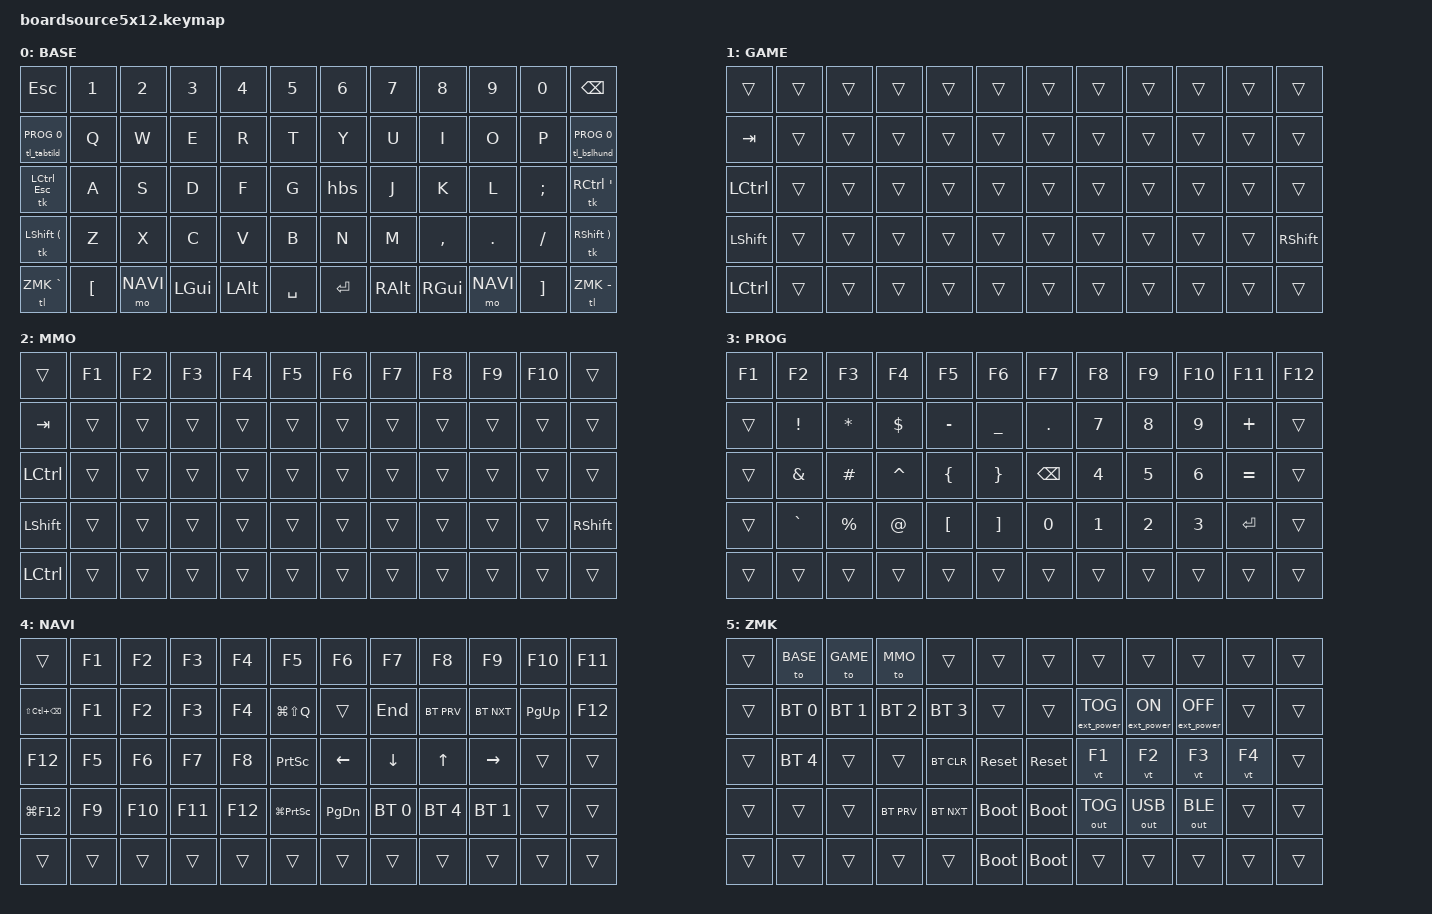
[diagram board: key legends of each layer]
/*
 * Copyright (c) 2021 The ZMK Contributors
 *
 * SPDX-License-Identifier: MIT
 */

#include <behaviors.dtsi>
#include <dt-bindings/zmk/keys.h>
#include <dt-bindings/zmk/bt.h>
#include <dt-bindings/zmk/ext_power.h>
#include <dt-bindings/zmk/outputs.h>
#include "macros.dtsi"

#define BASE 0

#define GAME 1
#define MMO 2

#define PROG 3
#define NAVI 4
#define ZMK  5

#define KILL    LG(LS(Q))
#define PSCR_SC LS(PSCRN)
#define PSCR_RT LG(PSCRN)
// STEAM shortcuts
#define STEAM   LS(LC(TAB))
#define STM_QA  LS(LC(BSPC))
#define S_SCST  F12
#define S_CLIP  LG(F12)

//    ┌────┬────┬────┬────┬────┬────┬────┬────┬────┬────┬────┬────┐
//    │ 0  │ 1  │ 2  │ 3  │ 4  │ 5  │ 6  │ 7  │ 8  │ 9  │ 10 │ 11 │
//    ├────┼────┼────┼────┼────┼────┤────┼────┼────┼────┼────┼────┤
//    │ 12 │ 13 │ 14 │ 15 │ 16 │ 17 │ 18 │ 19 │ 20 │ 21 │ 22 │ 23 │
//    ├────┼────┼────┼────┼────┼────┼────┼────┼────┼────┼────┼────┼
//    │ 24 │ 25 │ 26 │ 27 │ 28 │ 29 │ 30 │ 31 │ 32 │ 33 │ 34 │ 35 │
//    ├────┼────┼────┼────┼────┼────┼────┼────┼────┼────┼────┼────┼
//    │ 36 │ 37 │ 38 │ 39 │ 40 │ 41 │ 42 │ 43 │ 44 │ 45 │ 46 │ 47 │
//    ├────┼────┼────┼────┼────┼────┼────┼────┼────┼────┼────┼────┼
//    │ 48 │ 49 │ 50 │ 51 │ 52 │ 53 │ 54 │ 55 │ 56 │ 57 │ 58 │ 59 │
//    └────┴────┴────┴────┴────┴────┴────┴────┴────┴────┴────┴────┘
/ {
    combos {
        compatible = "zmk,combos";
        // left and right parentheses `()`, when typing fast using left and right
        // shifts. Makes it hard to type )( but who would want that?
        combo_left_right_parens {
            timeout-ms = <150>;
            key-positions = <36 47>;
            bindings = <&lrpars>;
            layers = <BASE PROG NAVI ZMK>;
        };
        // tilde and forward slash `~/` - normaly you would nieed to use grave
        // combo with shift and then slash. We are skipping shift here
        combo_tilde_slash {
            timeout-ms = <250>;
            slow-release;
            key-positions = <12 24 46>;
            bindings = <&tildslh>;
            layers = <BASE PROG NAVI ZMK>;
        };
        // q; for `!=`
        combo_not_equal {
            timeout-ms = <50>;
            key-positions = <13 34>;
            bindings = <&notequal>;
            layers = <BASE PROG NAVI ZMK>;
        };
        // r. for `->`
        combo_arrow_gt {
            timeout-ms = <50>;
            key-positions = <16 45>;
            bindings = <&arrowgt>;
            layers = <BASE PROG NAVI ZMK>;
        };
        // r, for `<-`
        combo_arrow_lt {
            timeout-ms = <50>;
            key-positions = <16 44>;
            bindings = <&arrowlt>;
            layers = <BASE PROG NAVI ZMK>;
        };
        // e; for `:=`
        combo_colon_equal {
            timeout-ms = <50>;
            key-positions = <15 34>;
            bindings = <&coleql>;
            layers = <BASE PROG NAVI ZMK>;
        };
        // e. for `=>`
        combo_fat_arrow {
            timeout-ms = <50>;
            key-positions = <15 45>;
            bindings = <&fatarrow>;
            layers = <BASE PROG NAVI ZMK>;
        };
        // d. for `|>`
        combo_gt_pipe {
            timeout-ms = <50>;
            key-positions = <28 45>;
            bindings = <&pipegt>;
            layers = <BASE PROG NAVI ZMK>;
        };
        // f. for `<|`
        combo_lt_pipe {
            timeout-ms = <50>;
            key-positions = <28 44>;
            bindings = <&ltpipe>;
            layers = <BASE PROG NAVI ZMK>;
        };
        // left ctrl + right ctrl = caps word, not using shifts as they are
        // used to type parentheses
        combo_caps_word {
            timeout-ms = <150>;
            key-positions = <24 35>;
            bindings = <&caps_word>;
            layers = <BASE PROG NAVI ZMK>;
        };
        combo_lbkt_rbkt {
            timeout-ms = <150>;
            key-positions = <39 40>;
            layers = <PROG>;
            bindings = <&lrbkt>;
        };
        combo_lbrc_rbrc {
            timeout-ms = <150>;
            key-positions = <27 28>;
            layers = <PROG>;
            bindings = <&lrbrc>;
        };
    };

    keymap {
        compatible = "zmk,keymap";

        BASE {
            bindings = <
//    ┌────────────┬───┬──────┬──────┬──────┬─────┬──────┬──────┬──────┬──────┬───┬──────────┐
//    │    esc     │ 1 │  2   │  3   │  4   │  5  │  6   │  7   │  8   │  9   │ 0 │    bs    │
//    ├────────────┼───┼──────┼──────┼──────┼─────┼──────┼──────┼──────┼──────┼───┼──────────┤
//    │ PROG tab ~ │ Q │  W   │  E   │  R   │  T  │  Y   │  U   │  I   │  O   │ P │ PROG \ _ │
//    ├────────────┼───┼──────┼──────┼──────┼─────┼──────┼──────┼──────┼──────┼───┼──────────┤
//    │  lctrl esc │ A │  S   │  D   │  F   │  G  │ h/bs │  J   │  K   │  L   │ ; │  rctrl ' │
//    ├────────────┼───┼──────┼──────┼──────┼─────┼──────┼──────┼──────┼──────┼───┼──────────┤
//    │   lshft (  │ Z │  X   │  C   │  V   │  B  │  N   │  M   │  ,   │  .   │ / │  rshft ) │
//    ├────────────┼───┼──────┼──────┼──────┼─────┼──────┼──────┼──────┼──────┼───┼──────────┤
//    │    ZMK `   │ [ │ NAVI │ lgui │ lalt │ spc │ ret  │ ralt │ rgui │ NAVI │ ] │   ZMK -  │
//    └────────────┴───┴──────┴──────┴──────┴─────┴──────┴──────┴──────┴──────┴───┴──────────┘
  &kp ESC              &kp N1     &kp N2     &kp N3     &kp N4     &kp N5      &kp N6    &kp N7     &kp N8      &kp N9     &kp N0     &kp BSPC
  &tl_tabtild PROG 0   &kp Q      &kp W      &kp E      &kp R      &kp T       &kp Y     &kp U      &kp I       &kp O      &kp P      &tl_bslhund PROG 0
  &tk LCTRL ESC        &kp A      &kp S      &kp D      &kp F      &kp G       &hbs      &kp J      &kp K       &kp L      &kp SEMI   &tk RCTRL SQT
  &tk LSHFT LPAR       &kp Z      &kp X      &kp C      &kp V      &kp B       &kp N     &kp M      &kp COMMA   &kp DOT    &kp FSLH   &tk RSHFT RPAR
  &tl ZMK GRAVE        &kp LBKT   &mo NAVI   &kp LGUI   &kp LALT   &kp SPACE   &kp RET   &kp RALT   &kp RGUI    &mo NAVI   &kp RBKT   &tl ZMK MINUS
            >;
        };
        GAME {
            bindings = <
//    ┌───────┬────┬────┬────┬────┬────┬────┬────┬────┬────┬────┬───────┐
//    │       │    │    │    │    │    │    │    │    │    │    │       │
//    ├───────┼────┼────┼────┼────┼────┼────┼────┼────┼────┼────┼───────┤
//    │  tab  │    │    │    │    │    │    │    │    │    │    │       │
//    ├───────┼────┼────┼────┼────┼────┼────┼────┼────┼────┼────┼───────┤
//    │ lctrl │    │    │    │    │    │    │    │    │    │    │       │
//    ├───────┼────┼────┼────┼────┼────┼────┼────┼────┼────┼────┼───────┤
//    │ lshft │    │    │    │    │    │    │    │    │    │    │ rshft │
//    ├───────┼────┼────┼────┼────┼────┼────┼────┼────┼────┼────┼───────┤
//    │ lctrl │    │    │    │    │    │    │    │    │    │    │       │
//    └───────┴────┴────┴────┴────┴────┴────┴────┴────┴────┴────┴───────┘
  &trans      &trans   &trans   &trans   &trans   &trans   &trans   &trans   &trans   &trans   &trans   &trans
  &kp TAB     &trans   &trans   &trans   &trans   &trans   &trans   &trans   &trans   &trans   &trans   &trans
  &kp LCTRL   &trans   &trans   &trans   &trans   &trans   &trans   &trans   &trans   &trans   &trans   &trans
  &kp LSHFT   &trans   &trans   &trans   &trans   &trans   &trans   &trans   &trans   &trans   &trans   &kp RSHFT
  &kp LCTRL   &trans   &trans   &trans   &trans   &trans   &trans   &trans   &trans   &trans   &trans   &trans
            >;
        };
        MMO {
            bindings = <
//    ┌───────┬────┬────┬────┬────┬────┬────┬────┬────┬────┬─────┬───────┐
//    │       │ f1 │ f2 │ f3 │ f4 │ f5 │ f6 │ f7 │ f8 │ f9 │ f10 │       │
//    ├───────┼────┼────┼────┼────┼────┼────┼────┼────┼────┼─────┼───────┤
//    │  tab  │    │    │    │    │    │    │    │    │    │     │       │
//    ├───────┼────┼────┼────┼────┼────┼────┼────┼────┼────┼─────┼───────┤
//    │ lctrl │    │    │    │    │    │    │    │    │    │     │       │
//    ├───────┼────┼────┼────┼────┼────┼────┼────┼────┼────┼─────┼───────┤
//    │ lshft │    │    │    │    │    │    │    │    │    │     │ rshft │
//    ├───────┼────┼────┼────┼────┼────┼────┼────┼────┼────┼─────┼───────┤
//    │ lctrl │    │    │    │    │    │    │    │    │    │     │       │
//    └───────┴────┴────┴────┴────┴────┴────┴────┴────┴────┴─────┴───────┘
  &trans      &kp F1   &kp F2   &kp F3   &kp F4   &kp F5   &kp F6   &kp F7   &kp F8   &kp F9   &kp F10   &trans
  &kp TAB     &trans   &trans   &trans   &trans   &trans   &trans   &trans   &trans   &trans   &trans    &trans
  &kp LCTRL   &trans   &trans   &trans   &trans   &trans   &trans   &trans   &trans   &trans   &trans    &trans
  &kp LSHFT   &trans   &trans   &trans   &trans   &trans   &trans   &trans   &trans   &trans   &trans    &kp RSHFT
  &kp LCTRL   &trans   &trans   &trans   &trans   &trans   &trans   &trans   &trans   &trans   &trans    &trans
            >;
        };
        PROG {
            bindings = <
//    ┌────┬────┬────┬────┬────┬────┬────┬────┬────┬─────┬─────┬─────┐
//    │ f1 │ f2 │ f3 │ f4 │ f5 │ f6 │ f7 │ f8 │ f9 │ f10 │ f11 │ f12 │
//    ├────┼────┼────┼────┼────┼────┼────┼────┼────┼─────┼─────┼─────┤
//    │    │ !  │ *  │ $  │ -  │ _  │ .  │ 7  │ 8  │  9  │  +  │     │
//    ├────┼────┼────┼────┼────┼────┼────┼────┼────┼─────┼─────┼─────┤
//    │    │ &  │ #  │ ^  │ {  │ }  │ bs │ 4  │ 5  │  6  │  =  │     │
//    ├────┼────┼────┼────┼────┼────┼────┼────┼────┼─────┼─────┼─────┤
//    │    │ `  │ %  │ @  │ [  │ ]  │ 0  │ 1  │ 2  │  3  │ ret │     │
//    ├────┼────┼────┼────┼────┼────┼────┼────┼────┼─────┼─────┼─────┤
//    │    │    │    │    │    │    │    │    │    │     │     │     │
//    └────┴────┴────┴────┴────┴────┴────┴────┴────┴─────┴─────┴─────┘
  &kp F1   &kp F2      &kp F3      &kp F4      &kp F5      &kp F6      &kp F7     &kp F8   &kp F9   &kp F10   &kp F11     &kp F12
  &trans   &kp EXCL    &kp ASTRK   &kp DLLR    &kp MINUS   &kp UNDER   &kp DOT    &kp N7   &kp N8   &kp N9    &kp PLUS    &trans
  &trans   &kp AMPS    &kp HASH    &kp CARET   &kp LBRC    &kp RBRC    &kp BSPC   &kp N4   &kp N5   &kp N6    &kp EQUAL   &trans
  &trans   &kp GRAVE   &kp PRCNT   &kp AT      &kp LBKT    &kp RBKT    &kp N0     &kp N1   &kp N2   &kp N3    &kp RET     &trans
  &trans   &trans      &trans      &trans      &trans      &trans      &trans     &trans   &trans   &trans    &trans      &trans
            >;
        };
        NAVI {
            bindings = <
//    ┌────────┬────┬─────┬─────┬─────┬─────────┬──────┬───────┬───────┬───────┬──────┬─────┐
//    │        │ f1 │ f2  │ f3  │ f4  │   f5    │  f6  │  f7   │  f8   │  f9   │ f10  │ f11 │
//    ├────────┼────┼─────┼─────┼─────┼─────────┼──────┼───────┼───────┼───────┼──────┼─────┤
//    │ STM_QA │ f1 │ f2  │ f3  │ f4  │  KILL   │      │  end  │  prv  │  nxt  │ pgup │ f12 │
//    ├────────┼────┼─────┼─────┼─────┼─────────┼──────┼───────┼───────┼───────┼──────┼─────┤
//    │ S_SCST │ f5 │ f6  │ f7  │ f8  │  pscr   │ left │ down  │  up   │ right │      │     │
//    ├────────┼────┼─────┼─────┼─────┼─────────┼──────┼───────┼───────┼───────┼──────┼─────┤
//    │ S_CLIP │ f9 │ f10 │ f11 │ f12 │ PSCR_RT │ pgdn │ bt> 0 │ bt> 4 │ bt> 1 │      │     │
//    ├────────┼────┼─────┼─────┼─────┼─────────┼──────┼───────┼───────┼───────┼──────┼─────┤
//    │        │    │     │     │     │         │      │       │       │       │      │     │
//    └────────┴────┴─────┴─────┴─────┴─────────┴──────┴───────┴───────┴───────┴──────┴─────┘
  &trans       &kp F1   &kp F2    &kp F3    &kp F4    &kp F5        &kp F6      &kp F7         &kp F8         &kp F9         &kp F10     &kp F11
  &kp STM_QA   &kp F1   &kp F2    &kp F3    &kp F4    &kp KILL      &trans      &kp END        &bt BT_PRV     &bt BT_NXT     &kp PG_UP   &kp F12
  &kp S_SCST   &kp F5   &kp F6    &kp F7    &kp F8    &kp PSCRN     &kp LEFT    &kp DOWN       &kp UP         &kp RIGHT      &trans      &trans
  &kp S_CLIP   &kp F9   &kp F10   &kp F11   &kp F12   &kp PSCR_RT   &kp PG_DN   &bt BT_SEL 0   &bt BT_SEL 4   &bt BT_SEL 1   &trans      &trans
  &trans       &trans   &trans    &trans    &trans    &trans        &trans      &trans         &trans         &trans         &trans      &trans
            >;
        };
        ZMK {
            bindings = <
//    ┌────┬─────────┬─────────┬────────┬───────┬───────┬───────┬─────────┬─────────┬─────────┬─────┬────┐
//    │    │ to BASE │ to GAME │ to MMO │       │       │       │         │         │         │     │    │
//    ├────┼─────────┼─────────┼────────┼───────┼───────┼───────┼─────────┼─────────┼─────────┼─────┼────┤
//    │    │  bt> 0  │  bt> 1  │ bt> 2  │ bt> 3 │       │       │ ep TOG  │  ep ON  │ ep OFF  │     │    │
//    ├────┼─────────┼─────────┼────────┼───────┼───────┼───────┼─────────┼─────────┼─────────┼─────┼────┤
//    │    │  bt> 4  │         │        │  clr  │ rsftT │ rsftT │   VT1   │   VT2   │   VT3   │ VT4 │    │
//    ├────┼─────────┼─────────┼────────┼───────┼───────┼───────┼─────────┼─────────┼─────────┼─────┼────┤
//    │    │         │         │  prv   │  nxt  │ BOOT  │ BOOT  │ out TOG │ out USB │ out BLE │     │    │
//    ├────┼─────────┼─────────┼────────┼───────┼───────┼───────┼─────────┼─────────┼─────────┼─────┼────┤
//    │    │         │         │        │       │ BOOT  │ BOOT  │         │         │         │     │    │
//    └────┴─────────┴─────────┴────────┴───────┴───────┴───────┴─────────┴─────────┴─────────┴─────┴────┘
  &trans   &to BASE       &to GAME       &to MMO        &trans         &trans        &trans        &trans              &trans             &trans              &trans   &trans
  &trans   &bt BT_SEL 0   &bt BT_SEL 1   &bt BT_SEL 2   &bt BT_SEL 3   &trans        &trans        &ext_power EP_TOG   &ext_power EP_ON   &ext_power EP_OFF   &trans   &trans
  &trans   &bt BT_SEL 4   &trans         &trans         &bt BT_CLR     &sys_reset    &sys_reset    &vt F1              &vt F2             &vt F3              &vt F4   &trans
  &trans   &trans         &trans         &bt BT_PRV     &bt BT_NXT     &bootloader   &bootloader   &out OUT_TOG        &out OUT_USB       &out OUT_BLE        &trans   &trans
  &trans   &trans         &trans         &trans         &trans         &bootloader   &bootloader   &trans              &trans             &trans              &trans   &trans
            >;
        };
    };
};
